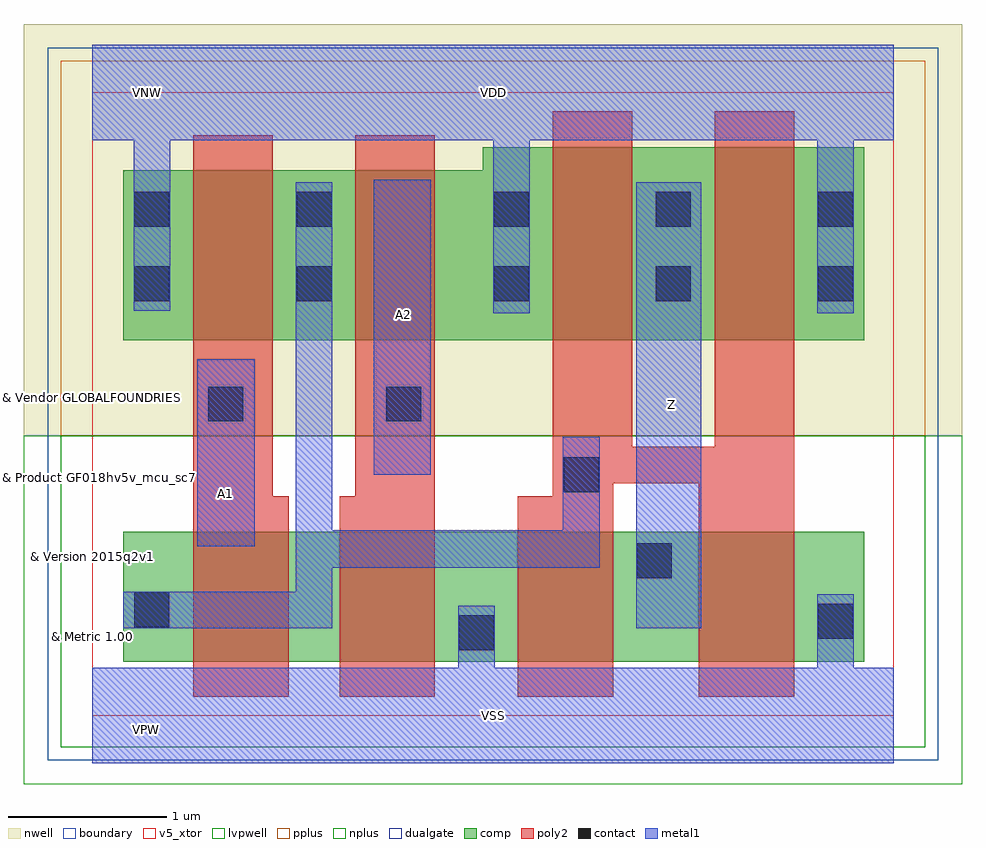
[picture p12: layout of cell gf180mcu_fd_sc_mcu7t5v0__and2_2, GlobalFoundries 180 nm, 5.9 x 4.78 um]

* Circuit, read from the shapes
.subckt gf180mcu_fd_sc_mcu7t5v0__and2_2 A1 A2 VDD VNW VSS Z
XM1 n1 A1 n2 VSUBS nfet_05v0 w=0.815u l=0.6u
XM2 VSS A2 n1 VSUBS nfet_05v0 w=0.815u l=0.6u
XM3 Z n2 VSS VSUBS nfet_05v0 w=0.815u l=0.6u m=2
XM4 n2 A1 VDD VNW pfet_05v0 w=1.07u l=0.5u
XM5 VDD A2 n2 VNW pfet_05v0 w=1.07u l=0.5u
XM6 Z n2 VDD VNW pfet_05v0 w=1.215u l=0.5u m=2
.ends

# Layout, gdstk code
import gdstk
lib = gdstk.Library(unit=1e-6, precision=1e-09)
def R(c, l, rs):  # rectangles x0, y0, x1, y1
    for r in rs: c.add(gdstk.rectangle(r[:2], r[2:], *l))
def A(c, l, x, y, w, h, nx, ny, dx, dy):  # array of equal rectangles
    R(c, l, [(x+i*dx, y+j*dy, x+i*dx+w, y+j*dy+h) for i in range(nx) for j in range(ny)])
def P(c, l, *ps):  # polygons
    for p in ps: c.add(gdstk.Polygon(p, *l))
boundary = (0, 0)
nwell = (21, 0)
comp = (22, 0)
poly2 = (30, 0)
pplus = (31, 0)
nplus = (32, 0)
contact = (33, 0)
metal1 = (34, 0)
dualgate = (55, 0)
v5_xtor = (112, 1)
lvpwell = (204, 0)

gf180mcu_fd_sc_mcu7t5v0_ = lib.new_cell('gf180mcu_fd_sc_mcu7t5v0__and2_2')
R(gf180mcu_fd_sc_mcu7t5v0_, boundary, [(0,0,5.04,3.92)])
R(gf180mcu_fd_sc_mcu7t5v0_, nwell, [(-0.43,1.76,5.47,4.35)])
R(gf180mcu_fd_sc_mcu7t5v0_, comp, [(0.195,0.34,4.855,1.155)])
P(gf180mcu_fd_sc_mcu7t5v0_, comp, [(0.195,2.36),(0.195,3.43),(2.455,3.43),(2.455,3.575),(4.855,3.575),(4.855,2.36)])
P(gf180mcu_fd_sc_mcu7t5v0_, poly2, [(0.635,0.12),(0.635,3.65),(1.135,3.65),(1.135,1.38),(1.235,1.38),(1.235,0.12)],
  [(1.555,0.12),(1.555,1.38),(1.655,1.38),(1.655,3.65),(2.155,3.65),(2.155,0.12)],
  [(2.675,0.12),(2.675,1.38),(2.895,1.38),(2.895,3.8),(3.395,3.8),(3.395,1.69),(3.915,1.69),(3.915,3.8),(4.415,3.8),(4.415,0.12),(3.815,0.12),(3.815,1.46),(3.275,1.46),(3.275,0.12)])
R(gf180mcu_fd_sc_mcu7t5v0_, pplus, [(-0.2,1.76,5.24,4.12)])
R(gf180mcu_fd_sc_mcu7t5v0_, nplus, [(-0.2,-0.2,5.24,1.76)])
A(gf180mcu_fd_sc_mcu7t5v0_, contact, 2.525, 2.605, 0.22, 0.22, 3, 2, 1.02, 0.47)
R(gf180mcu_fd_sc_mcu7t5v0_, contact, [(2.305,0.41,2.525,0.63), (4.565,0.485,4.785,0.705), (0.265,0.555,0.485,0.775), (3.425,0.865,3.645,1.085), (2.965,1.405,3.185,1.625), (0.73,1.85,0.95,2.07), (1.85,1.85,2.07,2.07), (0.265,2.605,0.485,2.825), (1.285,2.605,1.505,2.825), (0.265,3.075,0.485,3.295), (1.285,3.075,1.505,3.295)])
R(gf180mcu_fd_sc_mcu7t5v0_, metal1, [(3.42,0.55,3.83,3.355), (0.66,1.065,1.02,2.24), (1.77,1.515,2.13,3.37)])
P(gf180mcu_fd_sc_mcu7t5v0_, metal1, [(0.195,0.55),(0.195,0.78),(1.28,0.78),(1.28,3.355),(1.51,3.355),(1.51,1.165),(2.96,1.165),(2.96,1.755),(3.19,1.755),(3.19,0.93),(1.51,0.93),(1.51,0.55)],
  [(0,-0.3),(0,0.3),(2.3,0.3),(2.3,0.69),(2.53,0.69),(2.53,0.3),(4.56,0.3),(4.56,0.765),(4.79,0.765),(4.79,0.3),(5.04,0.3),(5.04,-0.3)],
  [(2.52,2.53),(2.52,3.62),(0.49,3.62),(0.49,2.545),(0.26,2.545),(0.26,3.62),(0,3.62),(0,4.22),(5.04,4.22),(5.04,3.62),(4.79,3.62),(4.79,2.53),(4.56,2.53),(4.56,3.62),(2.75,3.62),(2.75,2.53)])
R(gf180mcu_fd_sc_mcu7t5v0_, dualgate, [(-0.28,-0.28,5.32,4.2)])
R(gf180mcu_fd_sc_mcu7t5v0_, v5_xtor, [(0,0,5.04,3.92)])
R(gf180mcu_fd_sc_mcu7t5v0_, lvpwell, [(-0.43,-0.43,5.47,1.76)])
gf180mcu_fd_sc_mcu7t5v0_.add(gdstk.Label('VDD', (2.52,3.92), layer=34, texttype=10))
gf180mcu_fd_sc_mcu7t5v0_.add(gdstk.Label('VSS', (2.52,0), layer=34, texttype=10))
gf180mcu_fd_sc_mcu7t5v0_.add(gdstk.Label('Z', (3.64,1.96), layer=34, texttype=10))
gf180mcu_fd_sc_mcu7t5v0_.add(gdstk.Label('A1', (0.84,1.4), layer=34, texttype=10))
gf180mcu_fd_sc_mcu7t5v0_.add(gdstk.Label('A2', (1.96,2.52), layer=34, texttype=10))
gf180mcu_fd_sc_mcu7t5v0_.add(gdstk.Label('& Vendor GLOBALFOUNDRIES', (0,2), layer=63, texttype=63))
gf180mcu_fd_sc_mcu7t5v0_.add(gdstk.Label('& Product GF018hv5v_mcu_sc7', (0,1.5), layer=63, texttype=63))
gf180mcu_fd_sc_mcu7t5v0_.add(gdstk.Label('& Version 2015q2v1', (0,1), layer=63, texttype=63))
gf180mcu_fd_sc_mcu7t5v0_.add(gdstk.Label('& Metric 1.00', (0,0.5), layer=63, texttype=63))
gf180mcu_fd_sc_mcu7t5v0_.add(gdstk.Label('VNW', (0.345,3.92), layer=21, texttype=10))
gf180mcu_fd_sc_mcu7t5v0_.add(gdstk.Label('VPW', (0.34,-0.085), layer=204, texttype=10))

lib.write_gds('gf180mcu_fd_sc_mcu7t5v0__and2_2.gds')
